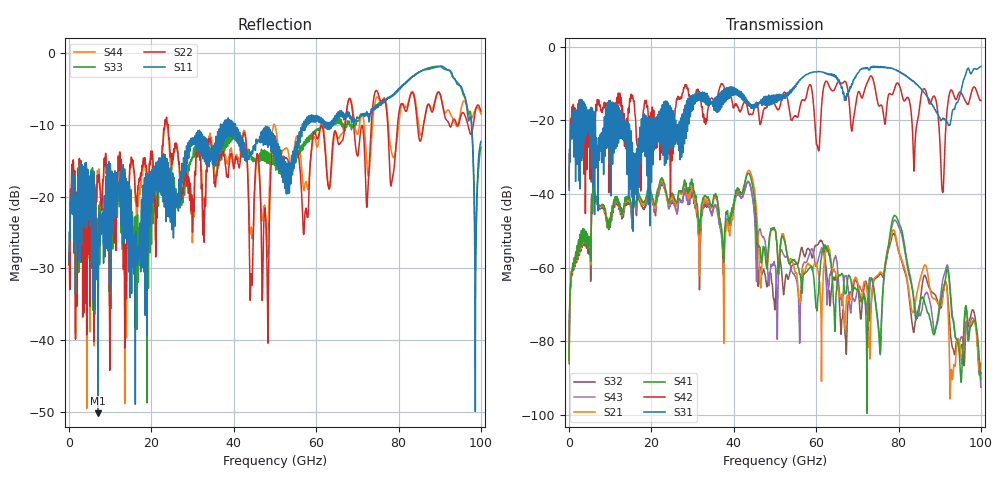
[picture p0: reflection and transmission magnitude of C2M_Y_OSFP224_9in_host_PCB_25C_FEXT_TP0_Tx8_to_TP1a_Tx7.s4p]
# GHz S RI R 45
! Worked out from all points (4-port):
!   4000 points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, 25 MHz to 100 GHz, reference 45 ohm
!   strongest paths, dB at 25 MHz, 25.02 GHz, 50.02 GHz, 75.03 GHz, 100 GHz:
!     S31: -39.0, -27.7, -13.4, -5.4, -5.4
!     S42: -38.2, -30.2, -15.9, -15.6, -14.6
!     S41: -85.2, -39.8, -49.8, -75.5, -90.4
!     S21: -85.4, -40.3, -50.0, -62.0, -86.0
!     S43: -85.1, -41.6, -59.5, -74.5, -92.5
!     S32: -86.1, -41.8, -71.0, -62.4, -88.7
!   lowest |S11| = -50.2 dB at 7.075 GHz (marker M1), VSWR 1.01, Z = 44.7 + j0.0843 ohm
!   |S11| at or under -10 dB: start of sweep to 36.78 GHz; 40.41 GHz to 56.64 GHz (16.23 GHz wide, 33.4 % of centre); 97.72 GHz to end of sweep (the widest 3 of 23)
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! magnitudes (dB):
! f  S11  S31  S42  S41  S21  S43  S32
! 25 MHz  -29.2  -39.0  -38.2  -85.2  -85.4  -85.1  -86.1
! 7.075 GHz  -50.2  -44.6  -15.5  -43.0  -43.2  -42.8  -43.5
! 43.62 GHz  -14.8  -15.0  -18.3  -34.4  -33.6  -36.7  -36.9
! 49.75 GHz  -14.2  -15.1  -15.4  -49.1  -49.4  -58.4  -68.5
! 75.35 GHz  -7.1  -5.6  -16.2  -80.1  -61.5  -78.7  -62.0
! 79.2 GHz  -5.4  -6.3  -10.8  -46.0  -50.9  -47.3  -51.6
! 100 GHz  -12.3  -5.4  -14.6  -90.4  -86.0  -92.5  -88.7
